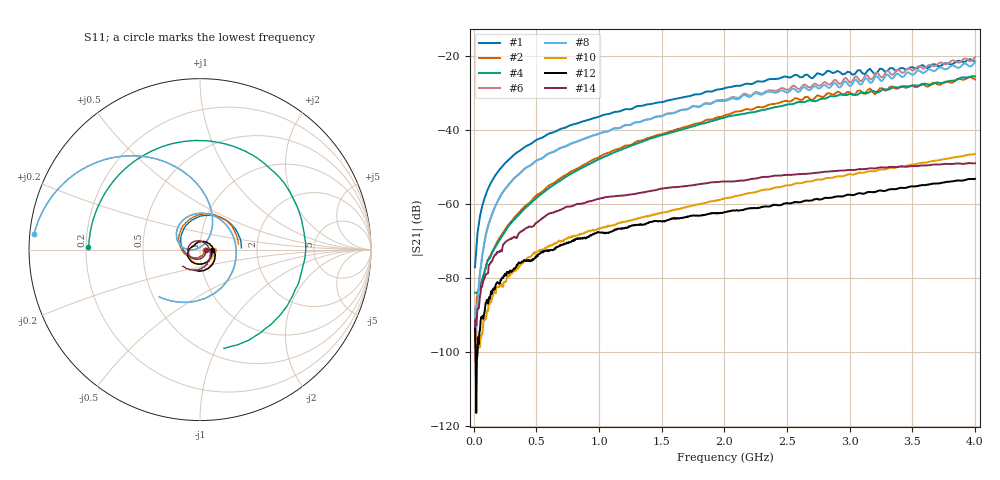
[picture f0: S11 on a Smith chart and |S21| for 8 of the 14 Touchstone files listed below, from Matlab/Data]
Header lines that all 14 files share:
! CHANNEL.1
! TR.MEASUREMENT
! CORRECTED.DATA
# GHZ S RI R 50.0
! FREQ.GHZ  S11RE  S11IM  S21RE  S21IM  S12RE  S12IM  S22RE  S22IM
!; PortSelection: Port_12
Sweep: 10 MHz to 4 GHz
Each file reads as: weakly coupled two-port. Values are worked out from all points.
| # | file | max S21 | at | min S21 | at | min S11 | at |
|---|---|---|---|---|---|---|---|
| 1 | Infineon-sp2t-state0-c-rx2.s2p | -20.82 dB | 3.96 GHz | -77.1 dB | 10 MHz | -30.4 dB | 29.95 MHz |
| 2 | Infineon-sp2t-state0-rx1-rx2.s2p | -25.63 dB | 3.96 GHz | -92.4 dB | 10 MHz | -31.2 dB | 29.95 MHz |
| 3 | Infineon-sp2t-state1-c-rx1.s2p | -21.44 dB | 3.96 GHz | -76.8 dB | 10 MHz | -30.6 dB | 29.95 MHz |
| 4 | Infineon-sp2t-state1-rx1-rx2.s2p | -25.43 dB | 3.98 GHz | -84.0 dB | 29.95 MHz | -4.5 dB | 4 GHz |
| 5 | Infineon-sp4t-state01-c-rx2.s2p | -24.99 dB | 4 GHz | -91.5 dB | 10 MHz | -38.3 dB | 788 MHz |
| 6 | Infineon-sp4t-state01-c-rx3.s2p | -20.33 dB | 4 GHz | -102.4 dB | 10 MHz | -38.4 dB | 783.1 MHz |
| 7 | Infineon-sp4t-state01-c-rx4.s2p | -22.28 dB | 4 GHz | -98.4 dB | 10 MHz | -38.3 dB | 783.1 MHz |
| 8 | Infineon-sp4t-state01-c-rx5.s2p | -21.68 dB | 4 GHz | -94.1 dB | 10 MHz | -38.8 dB | 783.1 MHz |
| 9 | Infineon-sp4t-state10-c-rx1.s2p | -20.29 dB | 4 GHz | -88.2 dB | 10 MHz | -35.6 dB | 823 MHz |
| 10 | PSEMI-sp4t-state00-c-p2.s2p | -46.42 dB | 4 GHz | -101.0 dB | 24.96 MHz | -27.1 dB | 2.389 GHz |
| 11 | PSEMI-sp4t-state00-c-p3.s2p | -47.91 dB | 4 GHz | -112.3 dB | 29.95 MHz | -27.2 dB | 2.404 GHz |
| 12 | PSEMI-sp4t-state00-c-p4.s2p | -53.16 dB | 4 GHz | -116.4 dB | 19.98 MHz | -27.8 dB | 2.409 GHz |
| 13 | PSEMI-sp4t-state01-c-p4.s2p | -48.12 dB | 4 GHz | -115.7 dB | 34.94 MHz | -27.9 dB | 2.529 GHz |
| 14 | PSEMI-sp4t-state01-p4-p2.s2p | -48.92 dB | 3.955 GHz | -93.1 dB | 10 MHz | -28.9 dB | 14.99 MHz |
